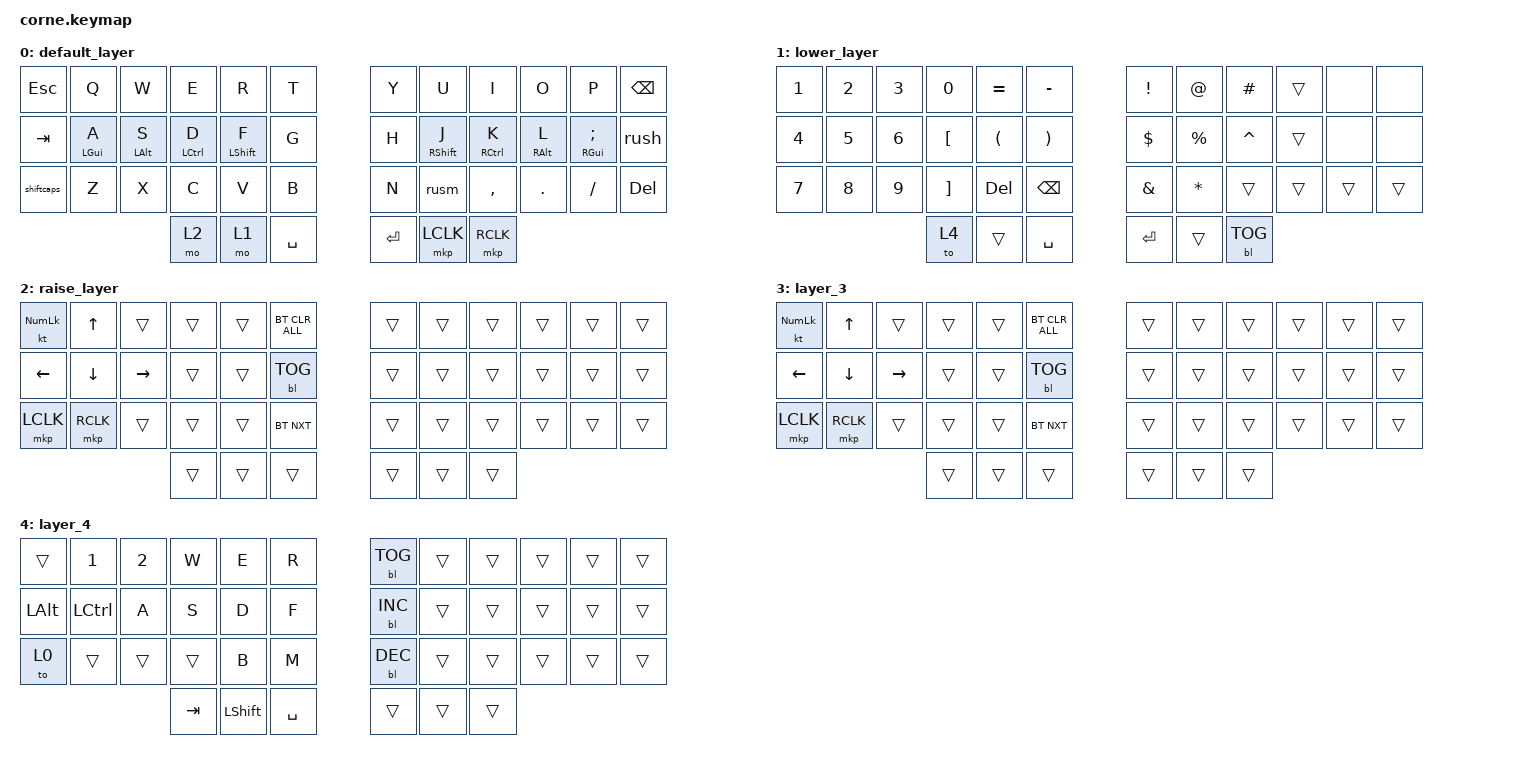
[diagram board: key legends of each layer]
/*
 * Copyright (c) 2020 The ZMK Contributors
 *
 * SPDX-License-Identifier: MIT
 */

#include <behaviors.dtsi>
#include <dt-bindings/zmk/backlight.h>
#include <dt-bindings/zmk/bt.h>
#include <dt-bindings/zmk/keys.h>
#include <dt-bindings/zmk/mouse.h>
#include <dt-bindings/zmk/pointing.h>


/ {
    behaviors {
        rush: rush {
            compatible = "zmk,behavior-tap-dance";
            label = "RUSH";
            #binding-cells = <0>;
            bindings = <&kp SQT>, <&kp LEFT_BRACKET>;
        };

        rusm: rusm {
            compatible = "zmk,behavior-tap-dance";
            label = "RUSM";
            #binding-cells = <0>;
            bindings = <&kp M>, <&kp RIGHT_BRACKET>;
        };

        shiftcaps: shiftcaps {
            compatible = "zmk,behavior-tap-dance";
            label = "SHIFTCAPS";
            #binding-cells = <0>;
            bindings = <&kp LEFT_SHIFT>, <&kp CAPS>;
        };

        new_behavior: new_behavior {
            compatible = "zmk,behavior-hold-tap";
            label = "NEW_BEHAVIOR";
            bindings = <&kp>, <&kp>;

            #binding-cells = <2>;
            hold-trigger-key-positions = <13>;
            tapping-term-ms = <200>;
        };
    };

    keymap {
        compatible = "zmk,keymap";

        default_layer {
            // -----------------------------------------------------------------------------------------
            // |  TAB |  Q  |  W  |  E  |  R  |  T  |   |  Y  |  U   |  I  |  O  |  P  | BKSP |
            // | CTRL |  A  |  S  |  D  |  F  |  G  |   |  H  |  J   |  K  |  L  |  ;  |  '   |
            // | SHFT |  Z  |  X  |  C  |  V  |  B  |   |  N  |  M   |  ,  |  .  |  /  | ESC  |
            //                    | GUI | LWR | SPC |   | ENT | RSE  | ALT |

            bindings = <
&kp ESCAPE  &kp Q           &kp W           &kp E        &kp R             &kp T        &kp Y    &kp U              &kp I        &kp O            &kp P                    &kp BSPC
&kp TAB     &mt LEFT_GUI A  &mt LEFT_ALT S  &mt LCTRL D  &mt LEFT_SHIFT F  &kp G        &kp H    &mt RIGHT_SHIFT J  &mt RCTRL K  &mt RIGHT_ALT L  &mt RIGHT_GUI SEMICOLON  &rush
&shiftcaps  &kp Z           &kp X           &kp C        &kp V             &kp B        &kp N    &rusm              &kp COMMA    &kp DOT          &kp FSLH                 &kp DEL
                                            &mo  2        &mo 1             &kp SPACE    &kp RET  &mkp LCLK          &mkp RCLK   
            >;
        };

        lower_layer {
            // -----------------------------------------------------------------------------------------
            // |  TAB |  1  |  2  |  3  |  4  |  5  |   |  6  |  7  |  8  |  9  |  0  | BKSP |
            // | BTCLR| BT1 | BT2 | BT3 | BT4 | BT5 |   | LFT | DWN |  UP | RGT |     |      |
            // | SHFT |     |     |     |     |     |   |     |     |     |     |     |      |
            //                    | GUI |     | SPC |   | ENT |     | ALT |

            bindings = <
 &kp N1   &kp N2        &kp N3    &kp N0             &kp EQUAL             &kp MINUS                       &kp EXCLAMATION  &kp AT_SIGN   &kp HASH   &trans       &none      &none
 &kp N4   &kp N5        &kp N6    &kp LBKT          &kp LEFT_PARENTHESIS  &kp RIGHT_PARENTHESIS            &kp DOLLAR       &kp PERCENT   &kp CARET  &trans       &none      &none
 &kp N7   &kp N8        &kp N9    &kp RBKT          &kp DEL               &kp BACKSPACE                    &kp AMPERSAND    &kp ASTERISK  &trans    &trans   &trans    &trans           
                                  &to 4             &trans                &kp SPACE                        &kp RET  &trans         &bl BL_TOG
            >;
        };

        raise_layer {
            // -----------------------------------------------------------------------------------------
            // |  TAB |  !  |  @  |  #  |  $  |  %  |   |  ^  |  &  |  *  |  (  |  )  | BKSP |
            // | CTRL |     |     |     |     |     |   |  -  |  =  |  [  |  ]  |  \  |  `   |
            // | SHFT |     |     |     |     |     |   |  _  |  +  |  {  |  }  | "|" |  ~   |
            //                    | GUI |     | SPC |   | ENT |     | ALT |

         bindings = <
&kt KP_NUMLOCK  &kp UP_ARROW    &trans              &trans           &trans  &bt BT_CLR_ALL    &trans  &trans  &trans  &trans  &trans  &trans
&kp LEFT_ARROW  &kp DOWN_ARROW  &kp RIGHT_ARROW     &trans           &trans  &bl BL_TOG        &trans  &trans  &trans  &trans  &trans  &trans
&mkp LCLK       &mkp RCLK       &trans              &trans           &trans  &bt BT_NXT        &trans  &trans  &trans  &trans  &trans  &trans
                                        &trans           &trans  &trans    &trans  &trans  &trans
            >;
        };

        layer_3 {
            bindings = <
&kt KP_NUMLOCK  &kp UP_ARROW    &trans              &trans           &trans  &bt BT_CLR_ALL    &trans  &trans  &trans  &trans  &trans  &trans
&kp LEFT_ARROW  &kp DOWN_ARROW  &kp RIGHT_ARROW     &trans           &trans  &bl BL_TOG        &trans  &trans  &trans  &trans  &trans  &trans
&mkp LCLK       &mkp RCLK       &trans              &trans           &trans  &bt BT_NXT        &trans  &trans  &trans  &trans  &trans  &trans
                                        &trans           &trans  &trans    &trans  &trans  &trans
            >;
        };

        layer_4 {
            bindings = <
&trans  &kp N1  &kp N2  &kp W  &kp E  &kp R    &bl BL_TOG  &trans  &trans  &trans  &trans  &trans
&kp LEFT_ALT  &kp LCTRL  &kp A  &kp S  &kp D  &kp F        &bl BL_INC  &trans  &trans  &trans  &trans  &trans
&to 0  &trans  &trans  &trans  &kp B  &kp M        &bl BL_DEC  &trans  &trans  &trans  &trans  &trans
                        &kp TAB  &kp LEFT_SHIFT  &kp SPACE            &trans      &trans  &trans
            >;
        };
    };
};
